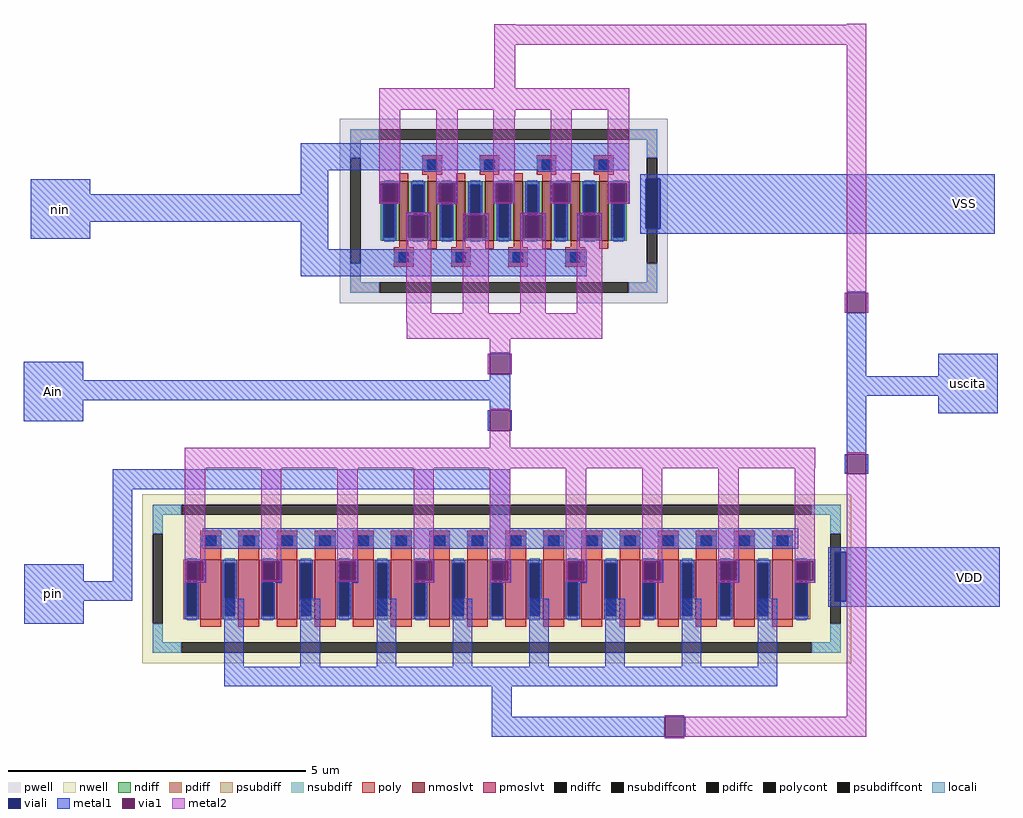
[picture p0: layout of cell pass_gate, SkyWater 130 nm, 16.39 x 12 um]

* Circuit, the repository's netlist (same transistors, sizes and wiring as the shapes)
** sch_path: /home/ttuser/Progetto_PISEI/xschem/pass_gate.sch
.subckt pass_gate VDD VSS pin Ain uscita nin
*.PININFO Ain:I pin:I nin:I VDD:I VSS:I uscita:O
XM2 Ain nin uscita VSS sky130_fd_pr__nfet_01v8_lvt L=0.15 W=8 nf=8 m=1
XM3 uscita pin Ain VDD sky130_fd_pr__pfet_01v8_lvt L=0.35 W=16 nf=16 m=1
.ends
.end

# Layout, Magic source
magic
tech sky130A
magscale 1 2
<< viali >>
rect 2508 876 2556 1044
rect 3142 -374 3182 -210
<< metal1 >>
rect 1350 1072 2452 1164
rect 442 992 642 1042
rect 1350 992 1442 1072
rect 2490 1044 3680 1060
rect 442 900 1442 992
rect 1614 1030 1682 1036
rect 1614 966 1620 1030
rect 1676 966 1682 1030
rect 1614 960 1682 966
rect 1806 1030 1874 1036
rect 1806 966 1812 1030
rect 1868 966 1874 1030
rect 1806 960 1874 966
rect 1998 1030 2066 1036
rect 1998 966 2004 1030
rect 2060 966 2066 1030
rect 1998 960 2066 966
rect 2190 1030 2258 1036
rect 2190 966 2196 1030
rect 2252 966 2258 1030
rect 2190 960 2258 966
rect 2382 1030 2450 1036
rect 2382 966 2388 1030
rect 2444 966 2450 1030
rect 2382 960 2450 966
rect 442 842 642 900
rect 1350 808 1442 900
rect 1704 922 1784 928
rect 1704 846 1710 922
rect 1778 846 1784 922
rect 1704 838 1784 846
rect 1896 922 1976 928
rect 1896 846 1902 922
rect 1970 846 1976 922
rect 1896 838 1976 846
rect 2088 922 2168 928
rect 2088 846 2094 922
rect 2162 846 2168 922
rect 2088 838 2168 846
rect 2280 922 2360 928
rect 2280 846 2286 922
rect 2354 846 2360 922
rect 2490 876 2508 1044
rect 2556 876 3680 1044
rect 2490 860 3680 876
rect 2280 838 2360 846
rect 1350 716 2310 808
rect 3183 661 3249 667
rect 1984 456 2052 462
rect 418 368 618 430
rect 1984 368 2052 388
rect 418 300 2052 368
rect 418 230 618 300
rect 1984 266 2052 300
rect 3183 381 3249 595
rect 3490 381 3690 456
rect 3183 315 3690 381
rect 1978 198 1984 266
rect 2052 198 2058 266
rect 3183 119 3249 315
rect 3490 256 3690 315
rect 717 2 2052 68
rect 3177 53 3183 119
rect 3249 53 3255 119
rect 420 -307 620 -250
rect 717 -307 783 2
rect 1984 -130 2052 2
rect 1020 -198 3020 -130
rect 3120 -210 3696 -194
rect 420 -373 783 -307
rect 960 -240 1030 -234
rect 960 -304 966 -240
rect 1022 -304 1030 -240
rect 960 -312 1030 -304
rect 1216 -240 1286 -234
rect 1216 -304 1222 -240
rect 1278 -304 1286 -240
rect 1216 -312 1286 -304
rect 1472 -240 1542 -234
rect 1472 -304 1478 -240
rect 1534 -304 1542 -240
rect 1472 -312 1542 -304
rect 1728 -240 1798 -234
rect 1728 -304 1734 -240
rect 1790 -304 1798 -240
rect 1728 -312 1798 -304
rect 1984 -240 2054 -234
rect 1984 -304 1990 -240
rect 2046 -304 2054 -240
rect 1984 -312 2054 -304
rect 2240 -240 2310 -234
rect 2240 -304 2246 -240
rect 2302 -304 2310 -240
rect 2240 -312 2310 -304
rect 2496 -240 2566 -234
rect 2496 -304 2502 -240
rect 2558 -304 2566 -240
rect 2496 -312 2566 -304
rect 2752 -240 2822 -234
rect 2752 -304 2758 -240
rect 2814 -304 2822 -240
rect 2752 -312 2822 -304
rect 3008 -240 3078 -234
rect 3008 -304 3014 -240
rect 3070 -304 3078 -240
rect 3008 -312 3078 -304
rect 420 -450 620 -373
rect 1092 -595 1158 -366
rect 1348 -595 1414 -366
rect 1604 -595 1670 -366
rect 1860 -595 1926 -366
rect 2116 -595 2182 -366
rect 2372 -595 2438 -366
rect 2628 -595 2694 -366
rect 2884 -595 2950 -366
rect 3120 -374 3142 -210
rect 3182 -374 3696 -210
rect 3120 -394 3696 -374
rect 1092 -620 2950 -595
rect 1092 -661 2949 -620
rect 1991 -763 2057 -661
rect 1991 -829 2571 -763
rect 2637 -829 2643 -763
<< via1 >>
rect 1620 966 1676 1030
rect 1812 966 1868 1030
rect 2004 966 2060 1030
rect 2196 966 2252 1030
rect 2388 966 2444 1030
rect 1710 846 1778 922
rect 1902 846 1970 922
rect 2094 846 2162 922
rect 2286 846 2354 922
rect 3183 595 3249 661
rect 1984 388 2052 456
rect 1984 198 2052 266
rect 3183 53 3249 119
rect 966 -304 1022 -240
rect 1222 -304 1278 -240
rect 1478 -304 1534 -240
rect 1734 -304 1790 -240
rect 1990 -304 2046 -240
rect 2246 -304 2302 -240
rect 2502 -304 2558 -240
rect 2758 -304 2814 -240
rect 3014 -304 3070 -240
rect 2571 -829 2637 -763
<< metal2 >>
rect 1999 1561 2069 1563
rect 3183 1561 3249 1565
rect 1999 1495 3249 1561
rect 1999 1348 2069 1495
rect 1612 1276 2452 1348
rect 1612 1030 1684 1276
rect 1612 966 1620 1030
rect 1676 966 1684 1030
rect 1612 960 1684 966
rect 1804 1030 1876 1276
rect 1804 966 1812 1030
rect 1868 966 1876 1030
rect 1804 958 1876 966
rect 1996 1255 2069 1276
rect 1996 1030 2068 1255
rect 2188 1040 2260 1276
rect 1996 966 2004 1030
rect 2060 966 2068 1030
rect 1996 960 2068 966
rect 2186 1030 2260 1040
rect 2380 1040 2452 1276
rect 2380 1030 2454 1040
rect 2186 966 2196 1030
rect 2252 966 2258 1030
rect 2186 960 2258 966
rect 2382 966 2388 1030
rect 2444 966 2454 1030
rect 2382 960 2454 966
rect 1704 922 1786 932
rect 1704 846 1710 922
rect 1778 850 1786 922
rect 1894 922 1980 928
rect 1778 846 1788 850
rect 1704 593 1788 846
rect 1894 846 1902 922
rect 1970 846 1980 922
rect 1894 593 1980 846
rect 2086 922 2172 930
rect 2086 846 2094 922
rect 2162 846 2172 922
rect 2086 593 2172 846
rect 2276 922 2362 930
rect 2276 846 2286 922
rect 2354 846 2362 922
rect 2276 593 2362 846
rect 3183 661 3249 1495
rect 3177 595 3183 661
rect 3249 595 3255 661
rect 1704 562 2362 593
rect 1705 507 2362 562
rect 1984 456 2052 507
rect 1978 388 1984 456
rect 2052 388 2058 456
rect 1984 266 2052 272
rect 1984 140 2052 198
rect 960 72 3078 140
rect 3183 119 3249 125
rect 960 -240 1028 72
rect 960 -304 966 -240
rect 1022 -304 1028 -240
rect 960 -312 1028 -304
rect 1216 -240 1284 72
rect 1216 -304 1222 -240
rect 1278 -304 1284 -240
rect 1216 -310 1284 -304
rect 1472 -240 1540 72
rect 1472 -304 1478 -240
rect 1534 -304 1540 -240
rect 1472 -310 1540 -304
rect 1728 -240 1796 72
rect 1728 -304 1734 -240
rect 1790 -304 1796 -240
rect 1728 -312 1796 -304
rect 1984 -240 2052 72
rect 1984 -304 1990 -240
rect 2046 -304 2052 -240
rect 1984 -312 2052 -304
rect 2240 -240 2308 72
rect 2240 -304 2246 -240
rect 2302 -304 2308 -240
rect 2240 -310 2308 -304
rect 2496 -240 2564 72
rect 2496 -304 2502 -240
rect 2558 -304 2564 -240
rect 2496 -312 2564 -304
rect 2752 -240 2820 72
rect 2752 -304 2758 -240
rect 2814 -304 2820 -240
rect 2752 -312 2820 -304
rect 3008 -240 3076 72
rect 3008 -304 3014 -240
rect 3070 -304 3076 -240
rect 3008 -312 3076 -304
rect 2571 -763 2637 -757
rect 3183 -763 3249 53
rect 2637 -829 3249 -763
rect 2571 -835 2637 -829
use sky130_fd_pr__nfet_01v8_lvt_Y5HS5Z  XM2
transform 1 0 2031 0 1 936
box -551 -310 551 310
use sky130_fd_pr__pfet_01v8_lvt_C3R4VJ  XM3
transform 1 0 2007 0 1 -299
box -1191 -284 1191 284
<< labels >>
flabel metal1 418 230 618 430 0 FreeSans 256 0 0 0 Ain
port 3 nsew
flabel metal1 442 842 642 1042 0 FreeSans 256 0 0 0 nin
port 5 nsew
flabel metal1 3490 256 3690 456 0 FreeSans 256 0 0 0 uscita
port 4 nsew
rlabel metal1 3480 860 3680 1060 1 VSS
port 7 n
rlabel metal1 420 -450 620 -250 1 pin
port 8 n
rlabel metal1 3496 -394 3696 -194 1 VDD
port 9 n
<< end >>

# cell sky130_fd_pr__nfet_01v8_lvt_Y5HS5Z: kit device sky130_fd_pr__nfet_01v8_lvt, w 1.0 l 0.15 m 1 nf 8 diffcov 100 polycov 100 guard 1 glc 1 grc 1 gtc 1 gbc 1 tbcov 100 rlcov 100 topc 1 botc 1 poverlap 0 doverlap 1 lmin 0.15 wmin 0.42 compatible {sky130_fd_pr__nfet_01v8 sky130_fd_pr__nfet_01v8_lvt sky130_fd_bs_flash__special_sonosfet_star sky130_fd_pr__nfet_g5v0d10v5 sky130_fd_pr__nfet_05v0_nvt sky130_fd_pr__nfet_03v3_nvt} full_metal 1 viasrc 100 viadrn 100 viagate 100 viagb 0 viagr 0 viagl 0 viagt 0

# cell sky130_fd_pr__pfet_01v8_lvt_C3R4VJ: kit device sky130_fd_pr__pfet_01v8_lvt, w 1.0 l 0.35 m 1 nf 16 diffcov 100 polycov 100 guard 1 glc 1 grc 1 gtc 1 gbc 1 tbcov 100 rlcov 100 topc 1 botc 0 poverlap 0 doverlap 1 lmin 0.35 wmin 0.42 compatible {sky130_fd_pr__pfet_01v8 sky130_fd_pr__pfet_01v8_lvt sky130_fd_pr__pfet_01v8_hvt sky130_fd_pr__pfet_g5v0d10v5} full_metal 1 viasrc 100 viadrn 100 viagate 100 viagb 0 viagr 0 viagl 0 viagt 0
